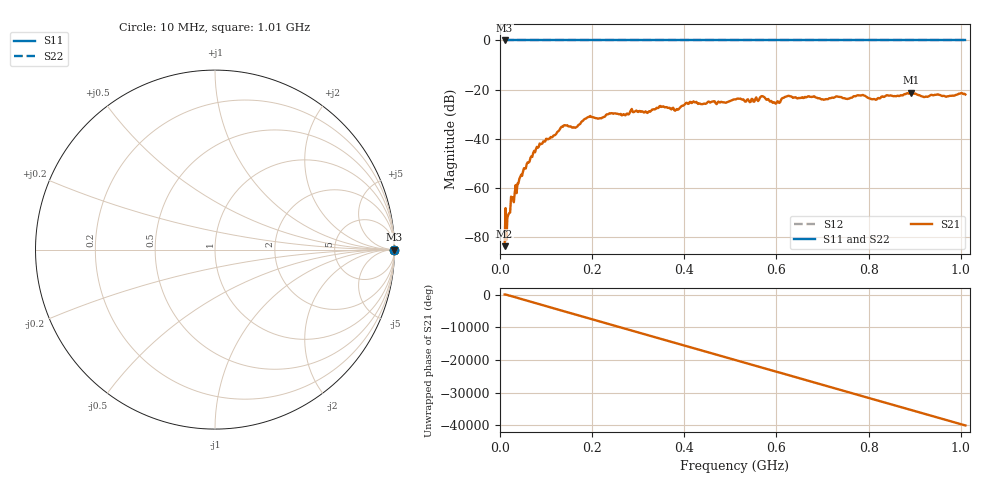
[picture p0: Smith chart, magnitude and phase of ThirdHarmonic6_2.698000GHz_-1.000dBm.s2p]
! 8/17/2025 6:26:43 AM
! C:\ANRITSUVNA\TEMP\TEMP.S2P
! CHANNEL.1
! TR.MEASUREMENT
! RAW.DATA
! RF.CORRECTION.OFF
! AVERAGING.OFF
! IF.BANDWIDTH: 5KHZ
! SWEEPTYPE:  FREQ.SWEEP(Linear)
! Reference Plane Port Info
! PORT:  PORT1  PORT2
! DISTANCE:  0  m  0  m
! TIME:  0  s  0  s
! PHASE.OFFSET:  0  deg.  0  deg.
! LOSS:  0  dB  0  dB
! REF.LOSS:  0  dB  0  dB
! REF.FREQ:  0  Hz  0  Hz
! Power Info
! POWER:  -20  dBm  -20  dBm
! EFF.POWER:  -20  dBm  -20  dBm
! SOURCE.ATTEN:  0  dB  0  dB
! TEST.ATTEN:  0  dB  0  dB
# GHZ S RI R 50.0
! FREQ.GHZ  S11RE  S11IM  S21RE  S21IM  S12RE  S12IM  S22RE  S22IM
!; PortSelection: Port_12
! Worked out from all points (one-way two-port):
!   501 points, 10 MHz to 1.01 GHz, reference 50 ohm
!   highest |S21| = -21.20 dB at 892 MHz (marker M1); lowest = -83.7 dB at 10 MHz (marker M2)
!   lowest |S11| = 0.0 dB at 10 MHz (marker M3)
!   |S11| at or under -10 dB: nowhere
!   |S22| runs from 0.0 to 0.0 dB; largest |S21 - S12| = 1.1
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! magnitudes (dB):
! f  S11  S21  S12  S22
! 10 MHz  0.0  -83.7  0.0  0.0
! 16 MHz  0.0  -72.1  0.0  0.0
! 18 MHz  0.0  -70.9  0.0  0.0
! 24 MHz  0.0  -63.6  0.0  0.0
! 42 MHz  0.0  -56.3  0.0  0.0
! 76 MHz  0.0  -45.5  0.0  0.0
! 136 MHz  0.0  -35.2  0.0  0.0
! 162 MHz  0.0  -35.5  0.0  0.0
! 178 MHz  0.0  -32.9  0.0  0.0
! 344 MHz  0.0  -27.5  0.0  0.0
! 382 MHz  0.0  -28.2  0.0  0.0
! 416 MHz  0.0  -25.5  0.0  0.0
! 510 MHz  0.0  -24.0  0.0  0.0
! 570 MHz  0.0  -22.7  0.0  0.0
! 596 MHz  0.0  -25.2  0.0  0.0
! 624 MHz  0.0  -22.7  0.0  0.0
! 678 MHz  0.0  -23.0  0.0  0.0
! 786 MHz  0.0  -22.2  0.0  0.0
! 814 MHz  0.0  -24.0  0.0  0.0
! 844 MHz  0.0  -22.5  0.0  0.0
! 892 MHz  0.0  -21.2  0.0  0.0
! 1.01 GHz  0.0  -22.0  0.0  0.0
